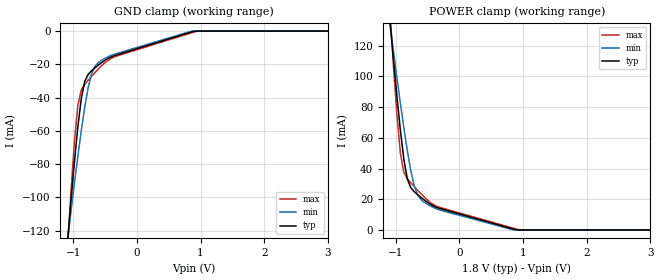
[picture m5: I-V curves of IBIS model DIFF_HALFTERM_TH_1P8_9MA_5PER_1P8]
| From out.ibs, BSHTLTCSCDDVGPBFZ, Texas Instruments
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|   Model Cell DIFF_HALFTERM_TH_1P8_9MA_5PER_1P8
|DIFF_HALFTERM_TH_1P8_9MA_5PER_1P8
[Model]   DIFF_HALFTERM_TH_1P8_9MA_5PER_1P8
Model_type   Input
Polarity   Non-Inverting
Vinl =  0.77
Vinh =  1.12
C_comp   1.5249p   1.4275p   1.6205p
|[Input load] diff_halfterm_9mA
|[Nom VDDS voltage] 1.8V
|[Output drive] NA
|[supplytol] 5
|[temp] ind
[Model Spec]
Vinl   0.77   0.77   0.77
Vinh   1.12   1.12   1.12
D_overshoot_high 2.34 2.34 2.34
D_overshoot_low -0.3 -0.3 -0.3
D_overshoot_time 1E-9 1E-9 1E-9
S_overshoot_high 1.65 1.65 1.65
S_overshoot_low 0 0 0
[Temperature Range]   25   125   -40
[Voltage Range]   1.8001   1.71   1.89
| Nom Voltages:
|   BIAS2=0.9, BIASFET=1.8, VDD=1, VDDS=1.8001, BUS_BIAS1=0, BUS_BIAS3=0,
|   VSS=0, VSSS=0
| Min Voltages:
|   BIAS2=0.855, BIASFET=1.71, VDD=0.9, VDDS=1.71, BUS_BIAS1=0,
|   BUS_BIAS3=0, VSS=0, VSSS=0
| Max Voltages:
|   BIAS2=0.945, BIASFET=1.89, VDD=1.1, VDDS=1.89, BUS_BIAS1=0,
|   BUS_BIAS3=0, VSS=0, VSSS=0
[POWER_clamp]
|   voltage   I(typ)   I(min)   I(max)
-1.8V     488.6mA    377.4mA    651.4mA
-1.091V   136.7mA    134.6mA    142.8mA
-1.036V   111.7mA    116.9mA    107.7mA
-981.9mV  87.64mA    99.59mA    75.57mA
-927.3mV  65.37mA    82.82mA    50.24mA
-872.8mV  46.33mA    66.76mA    37.56mA
-818.2mV  33.4mA     51.88mA    33.42mA
-709.1mV  24.92mA    28.83mA    28.24mA
-654.6mV  22.93mA    22.74mA    25.8mA
-490.9mV  17.72mA    16.43mA    19.11mA
927.3mV   0A         0A         189.7uA
3.6V      0A         0A         0A
[GND_clamp]
|   voltage   I(typ)   I(min)   I(max)
-1.8V     -479.3mA   -370mA     -639.9mA
-1.091V   -127.4mA   -126.7mA   -132.1mA
-1.036V   -102.7mA   -109.2mA   -97.71mA
-981.9mV  -79.18mA   -92.01mA   -67mA
-927.3mV  -57.81mA   -75.48mA   -44.68mA
-872.8mV  -40.53mA   -59.86mA   -35.36mA
-818.2mV  -30.22mA   -45.67mA   -32.03mA
-763.7mV  -26mA      -33.82mA   -29.51mA
-654.6mV  -21.96mA   -21.05mA   -24.81mA
-545.5mV  -18.71mA   -17.29mA   -20.56mA
927.3mV   0A         0A         -226.9uA
3.6V      0A         0A         0A
